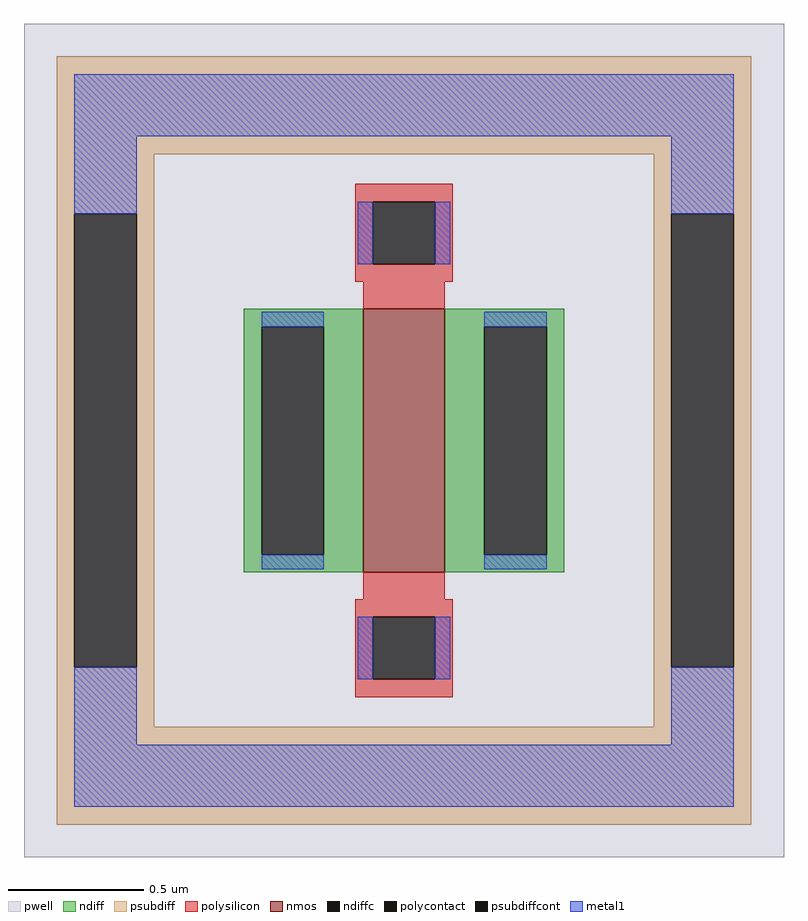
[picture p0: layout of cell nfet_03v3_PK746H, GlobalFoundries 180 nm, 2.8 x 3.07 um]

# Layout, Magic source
magic
tech gf180mcuD
magscale 1 10
<< pwell >>
rect -280 -307 280 307
<< nmos >>
rect -30 -97 30 97
<< ndiff >>
rect -118 84 -30 97
rect -118 -84 -105 84
rect -59 -84 -30 84
rect -118 -97 -30 -84
rect 30 84 118 97
rect 30 -84 59 84
rect 105 -84 118 84
rect 30 -97 118 -84
<< ndiffc >>
rect -105 -84 -59 84
rect 59 -84 105 84
<< psubdiff >>
rect -256 211 256 283
rect -256 167 -184 211
rect -256 -167 -243 167
rect -197 -167 -184 167
rect 184 167 256 211
rect -256 -211 -184 -167
rect 184 -167 197 167
rect 243 -167 256 167
rect 184 -211 256 -167
rect -256 -283 256 -211
<< psubdiffcont >>
rect -243 -167 -197 167
rect 197 -167 243 167
<< polysilicon >>
rect -36 176 36 189
rect -36 130 -23 176
rect 23 130 36 176
rect -36 117 36 130
rect -30 97 30 117
rect -30 -117 30 -97
rect -36 -130 36 -117
rect -36 -176 -23 -130
rect 23 -176 36 -130
rect -36 -189 36 -176
<< polycontact >>
rect -23 130 23 176
rect -23 -176 23 -130
<< metal1 >>
rect -243 224 243 270
rect -243 167 -197 224
rect -34 130 -23 176
rect 23 130 34 176
rect 197 167 243 224
rect -105 84 -59 95
rect -105 -95 -59 -84
rect 59 84 105 95
rect 59 -95 105 -84
rect -243 -224 -197 -167
rect -34 -176 -23 -130
rect 23 -176 34 -130
rect 197 -224 243 -167
rect -243 -270 243 -224
<< properties >>
string FIXED_BBOX -220 -247 220 247
string gencell nfet_03v3
string library gf180mcu
string parameters w 0.97 l 0.3 m 1 nf 1 diffcov 100 polycov 100 guard 1 glc 1 grc 1 gtc 0 gbc 0 tbcov 100 rlcov 100 topc 1 botc 1 poverlap 0 doverlap 1 lmin 0.28 wmin 0.22 class mosfet full_metal 1 compatible {nfet_03v3 nfet_05v0 nfet_06v0 nfet_06v0_nvt} ad {int((nf+1)/2) * W/nf * 0.18u} as {int((nf+2)/2) * W/nf * 0.18u} pd {2*int((nf+1)/2) * (W/nf + 0.18u)} ps {2*int((nf+2)/2) * (W/nf + 0.18u)} nrd {0.18u / W} nrs {0.18u / W} sa 0 sb 0 sd 0
<< end >>
